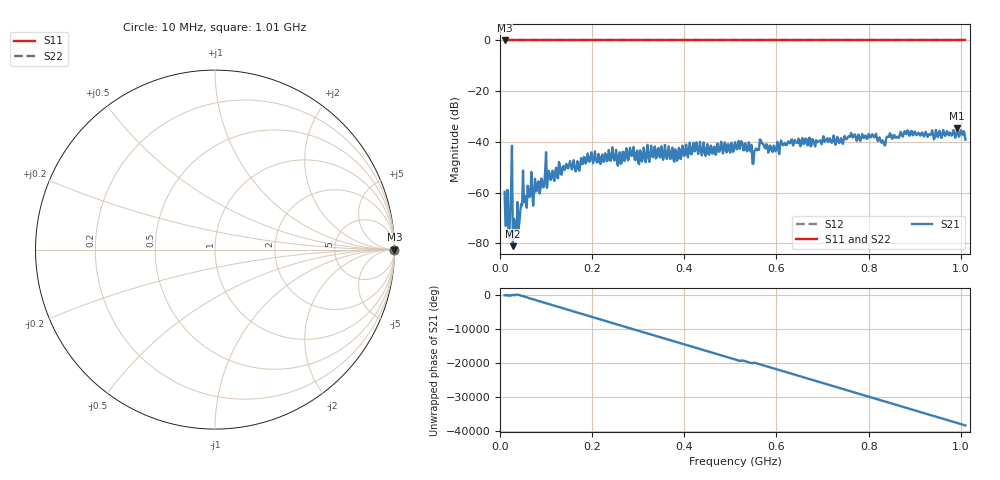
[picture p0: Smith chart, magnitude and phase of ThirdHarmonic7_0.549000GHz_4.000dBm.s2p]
! 8/17/2025 4:38:48 PM
! C:\ANRITSUVNA\TEMP\TEMP.S2P
! CHANNEL.1
! TR.MEASUREMENT
! RAW.DATA
! RF.CORRECTION.OFF
! AVERAGING.OFF
! IF.BANDWIDTH: 5KHZ
! SWEEPTYPE:  FREQ.SWEEP(Linear)
! Reference Plane Port Info
! PORT:  PORT1  PORT2
! DISTANCE:  0  m  0  m
! TIME:  0  s  0  s
! PHASE.OFFSET:  0  deg.  0  deg.
! LOSS:  0  dB  0  dB
! REF.LOSS:  0  dB  0  dB
! REF.FREQ:  0  Hz  0  Hz
! Power Info
! POWER:  -20  dBm  -20  dBm
! EFF.POWER:  -20  dBm  -20  dBm
! SOURCE.ATTEN:  0  dB  0  dB
! TEST.ATTEN:  0  dB  0  dB
# GHZ S RI R 50.0
! FREQ.GHZ  S11RE  S11IM  S21RE  S21IM  S12RE  S12IM  S22RE  S22IM
!; PortSelection: Port_12
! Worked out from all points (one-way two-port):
!   501 points, 10 MHz to 1.01 GHz, reference 50 ohm
!   highest |S21| = -34.56 dB at 992 MHz (marker M1); lowest = -81.1 dB at 28 MHz (marker M2)
!   lowest |S11| = 0.0 dB at 10 MHz (marker M3)
!   |S11| at or under -10 dB: nowhere
!   |S22| runs from 0.0 to 0.0 dB; largest |S21 - S12| = 1
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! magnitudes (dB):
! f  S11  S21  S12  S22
! 10 MHz  0.0  -59.7  0.0  0.0
! 16 MHz  0.0  -58.9  0.0  0.0
! 22 MHz  0.0  -67.5  0.0  0.0
! 28 MHz  0.0  -81.1  0.0  0.0
! 32 MHz  0.0  -71.2  0.0  0.0
! 44 MHz  0.0  -67.4  0.0  0.0
! 50 MHz  0.0  -51.3  0.0  0.0
! 64 MHz  0.0  -61.8  0.0  0.0
! 90 MHz  0.0  -54.4  0.0  0.0
! 102 MHz  0.0  -58.1  0.0  0.0
! 178 MHz  0.0  -48.7  0.0  0.0
! 344 MHz  0.0  -42.4  0.0  0.0
! 510 MHz  0.0  -40.1  0.0  0.0
! 552 MHz  0.0  -43.6  0.0  0.0
! 568 MHz  0.0  -40.4  0.0  0.0
! 594 MHz  0.0  -41.5  0.0  0.0
! 678 MHz  0.0  -38.9  0.0  0.0
! 766 MHz  0.0  -38.3  0.0  0.0
! 832 MHz  0.0  -40.1  0.0  0.0
! 844 MHz  0.0  -38.1  0.0  0.0
! 992 MHz  0.0  -34.6  0.0  0.0
! 1.01 GHz  0.0  -39.1  0.0  0.0
